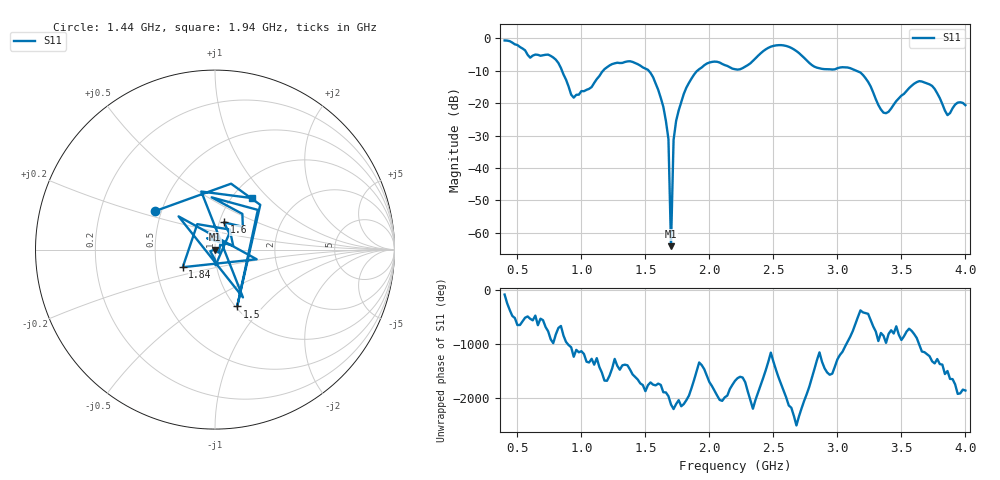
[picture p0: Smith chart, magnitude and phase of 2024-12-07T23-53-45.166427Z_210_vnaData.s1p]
!Created with skrf (http://scikit-rf.org).
# Hz S RI R 50.0
!freq ReS11 ImS11
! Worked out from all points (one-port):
!   181 points, 400 MHz to 4 GHz, reference 50 ohm
!   lowest |S11| = -64.1 dB at 1.7 GHz (marker M1), VSWR 1.00, Z = 50 + j0.044 ohm
!   |S11| at or under -10 dB: 848.2 MHz to 1.17 GHz (321.9 MHz wide, 31.9 % of centre); 1.525 GHz to 1.907 GHz (381.5 MHz wide, 22.2 % of centre); 3.147 GHz to end of sweep
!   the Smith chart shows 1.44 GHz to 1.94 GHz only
!   S11 on the Smith chart (normalised r, x): 1.44 GHz: 0.46, +0.23; 1.5 GHz: 1.02, -0.73; 1.6 GHz: 1.05, +0.33; 1.84 GHz: 0.68, -0.14; 1.94 GHz: 1.23, +0.81
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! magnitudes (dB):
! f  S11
! 400 MHz  -0.7
! 600 MHz  -6.0
! 760 MHz  -5.4
! 860 MHz  -11.2
! 940 MHz  -18.3
! 1.3 GHz  -7.7
! 1.44 GHz  -8.0
! 1.5 GHz  -9.4
! 1.6 GHz  -15.9
! 1.64 GHz  -21.1
! 1.68 GHz  -31.1
! 1.7 GHz  -64.1
! 1.72 GHz  -31.4
! 1.76 GHz  -22.3
! 1.84 GHz  -13.8
! 1.94 GHz  -9.0
! 2.2 GHz  -9.6
! 2.48 GHz  -2.6
! 2.66 GHz  -3.5
! 2.84 GHz  -9.1
! 3.1 GHz  -9.2
! 3.22 GHz  -12.3
! 3.36 GHz  -23.0
! 3.56 GHz  -15.4
! 3.74 GHz  -14.7
! 3.86 GHz  -23.7
! 3.94 GHz  -19.9
! 4 GHz  -20.6
